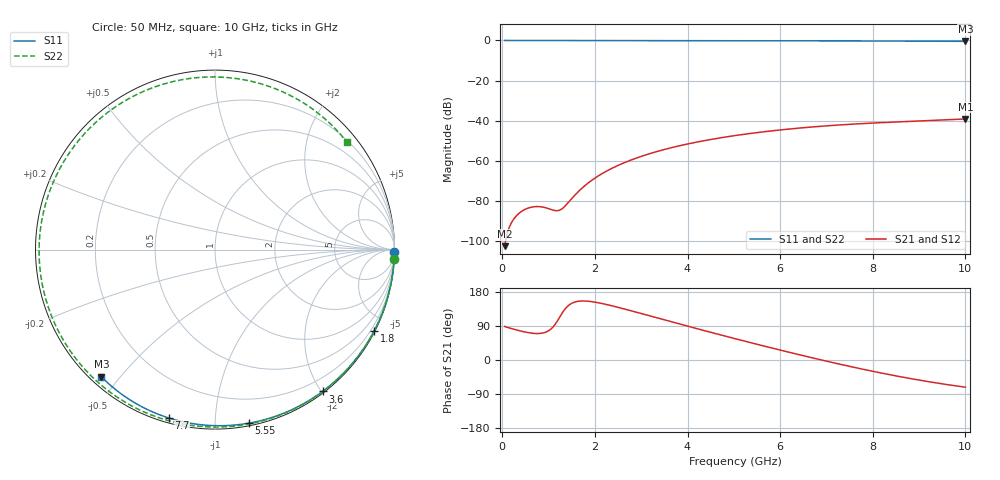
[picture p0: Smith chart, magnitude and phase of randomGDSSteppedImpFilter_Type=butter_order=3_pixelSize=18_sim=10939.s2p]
! freq	dB(S11)	phase(S11)	dB(S12)	phase(S12)
!  dB(S21)	phase(S21)	dB(S22)	phase(S22)
!S-par simulation data
#  GHz  S  DB  R 50
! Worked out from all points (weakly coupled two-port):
!   200 points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, 50 MHz to 10 GHz, reference 50 ohm
!   highest |S21| = -39.18 dB at 10 GHz (marker M1); lowest = -102.7 dB at 50 MHz (marker M2)
!   lowest |S11| = -0.4 dB at 10 GHz (marker M3), VSWR 39.06, Z = 1.54 - j22.4 ohm
!   |S11| at or under -10 dB: nowhere
!   |S22| runs from -0.5 to 0.0 dB; largest |S21 - S12| = 0
!   S11 on the Smith chart (normalised r, x): 50 MHz: open; 1.8 GHz: 0.04, -4.16; 3.6 GHz: 0.02, -2.01; 5.55 GHz: 0.02, -1.22; 7.7 GHz: 0.02, -0.76; 10 GHz: 0.03, -0.45
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0.05  -0.00 -0.8  -102.69 88.4  -102.69 88.4  -0.00 -2.9
0.4  -0.01 -6.1  -85.58 76.4  -85.58 76.4  -0.03 -22.8
0.8  -0.02 -12.1  -82.95 70.0  -82.95 70.0  -0.06 -44.8
1.1  -0.02 -16.6  -84.73 87.8  -84.73 87.8  -0.07 -60.3
1.45  -0.03 -21.8  -80.24 145.9  -80.24 145.9  -0.09 -77.2
1.75  -0.03 -26.3  -73.13 155.8  -73.13 155.8  -0.10 -90.5
1.8  -0.03 -27.0  -72.16 155.6  -72.16 155.6  -0.10 -92.7
2.1  -0.04 -31.4  -67.23 150.4  -67.23 150.4  -0.11 -104.9
2.45  -0.05 -36.5  -62.90 140.5  -62.90 140.5  -0.12 -118.1
2.9  -0.06 -43.0  -58.66 126.0  -58.66 126.0  -0.13 -133.6
3.4  -0.07 -50.0  -55.05 109.3  -55.05 109.3  -0.14 -149.2
3.6  -0.07 -52.8  -53.83 102.6  -53.83 102.6  -0.15 -155.1
4.3  -0.09 -62.4  -50.29 79.6  -50.29 79.6  -0.17 -174.4
5.05  -0.11 -72.4  -47.40 55.5  -47.40 55.5  -0.19 166.4
5.55  -0.13 -78.9  -45.85 39.9  -45.85 39.9  -0.21 154.0
6.1  -0.15 -85.9  -44.43 23.2  -44.43 23.2  -0.24 140.5
6.7  -0.18 -93.3  -43.17 5.5  -43.17 5.5  -0.27 125.8
7.2  -0.21 -99.4  -42.31 -8.6  -42.31 -8.6  -0.29 113.4
7.7  -0.24 -105.3  -41.60 -22.1  -41.60 -22.1  -0.32 100.8
8.35  -0.29 -112.9  -40.84 -38.4  -40.84 -38.4  -0.35 83.9
9.15  -0.36 -122.1  -40.06 -56.1  -40.06 -56.1  -0.40 62.6
10  -0.44 -131.8  -39.18 -71.7  -39.18 -71.7  -0.46 39.2
